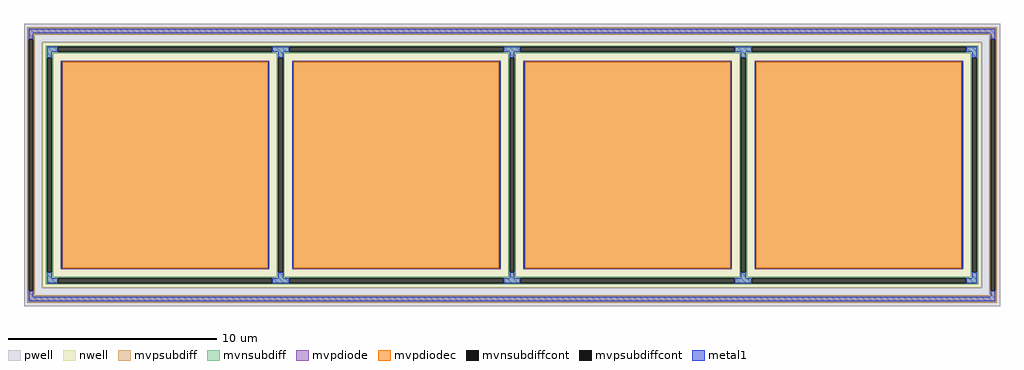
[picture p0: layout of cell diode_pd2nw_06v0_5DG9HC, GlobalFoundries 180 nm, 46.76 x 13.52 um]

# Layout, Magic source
magic
tech gf180mcuD
magscale 1 10
<< nwell >>
rect -4500 -1176 4500 1176
<< pwell >>
rect -4676 1176 4676 1352
rect -4676 -1176 -4500 1176
rect 4500 -1176 4676 1176
rect -4676 -1352 4676 -1176
<< mvpsubdiff >>
rect -4644 1248 4644 1320
rect -4644 1204 -4572 1248
rect -4644 -1204 -4631 1204
rect -4585 -1204 -4572 1204
rect 4572 1204 4644 1248
rect -4644 -1248 -4572 -1204
rect 4572 -1204 4585 1204
rect 4631 -1204 4644 1204
rect 4572 -1248 4644 -1204
rect -4644 -1320 4644 -1248
<< mvnsubdiff >>
rect -4468 1131 4468 1144
rect -4468 1085 -4352 1131
rect -2296 1085 -2136 1131
rect -80 1085 80 1131
rect 2136 1085 2296 1131
rect 4352 1085 4468 1131
rect -4468 1072 4468 1085
rect -4468 1028 -4396 1072
rect -4468 -1028 -4455 1028
rect -4409 -1028 -4396 1028
rect -2252 1028 -2180 1072
rect -4468 -1072 -4396 -1028
rect -2252 -1028 -2239 1028
rect -2193 -1028 -2180 1028
rect -36 1028 36 1072
rect -2252 -1072 -2180 -1028
rect -36 -1028 -23 1028
rect 23 -1028 36 1028
rect 2180 1028 2252 1072
rect -36 -1072 36 -1028
rect 2180 -1028 2193 1028
rect 2239 -1028 2252 1028
rect 4396 1028 4468 1072
rect 2180 -1072 2252 -1028
rect 4396 -1028 4409 1028
rect 4455 -1028 4468 1028
rect 4396 -1072 4468 -1028
rect -4468 -1085 4468 -1072
rect -4468 -1131 -4352 -1085
rect -2296 -1131 -2136 -1085
rect -80 -1131 80 -1085
rect 2136 -1131 2296 -1085
rect 4352 -1131 4468 -1085
rect -4468 -1144 4468 -1131
<< mvpsubdiffcont >>
rect -4631 -1204 -4585 1204
rect 4585 -1204 4631 1204
<< mvnsubdiffcont >>
rect -4352 1085 -2296 1131
rect -2136 1085 -80 1131
rect 80 1085 2136 1131
rect 2296 1085 4352 1131
rect -4455 -1028 -4409 1028
rect -2239 -1028 -2193 1028
rect -23 -1028 23 1028
rect 2193 -1028 2239 1028
rect 4409 -1028 4455 1028
rect -4352 -1131 -2296 -1085
rect -2136 -1131 -80 -1085
rect 80 -1131 2136 -1085
rect 2296 -1131 4352 -1085
<< mvpdiode >>
rect -4324 987 -2324 1000
rect -4324 -987 -4311 987
rect -2337 -987 -2324 987
rect -4324 -1000 -2324 -987
rect -2108 987 -108 1000
rect -2108 -987 -2095 987
rect -121 -987 -108 987
rect -2108 -1000 -108 -987
rect 108 987 2108 1000
rect 108 -987 121 987
rect 2095 -987 2108 987
rect 108 -1000 2108 -987
rect 2324 987 4324 1000
rect 2324 -987 2337 987
rect 4311 -987 4324 987
rect 2324 -1000 4324 -987
<< mvpdiodec >>
rect -4311 -987 -2337 987
rect -2095 -987 -121 987
rect 121 -987 2095 987
rect 2337 -987 4311 987
<< metal1 >>
rect -4631 1261 4631 1307
rect -4631 1204 -4585 1261
rect 4585 1204 4631 1261
rect -4455 1085 -4352 1131
rect -2296 1085 -2136 1131
rect -80 1085 80 1131
rect 2136 1085 2296 1131
rect 4352 1085 4455 1131
rect -4455 1028 -4409 1085
rect -2239 1028 -2193 1085
rect -4322 -987 -4311 987
rect -2337 -987 -2326 987
rect -4455 -1085 -4409 -1028
rect -23 1028 23 1085
rect -2106 -987 -2095 987
rect -121 -987 -110 987
rect -2239 -1085 -2193 -1028
rect 2193 1028 2239 1085
rect 110 -987 121 987
rect 2095 -987 2106 987
rect -23 -1085 23 -1028
rect 4409 1028 4455 1085
rect 2326 -987 2337 987
rect 4311 -987 4322 987
rect 2193 -1085 2239 -1028
rect 4409 -1085 4455 -1028
rect -4455 -1131 -4352 -1085
rect -2296 -1131 -2136 -1085
rect -80 -1131 80 -1085
rect 2136 -1131 2296 -1085
rect 4352 -1131 4455 -1085
rect -4631 -1261 -4585 -1204
rect 4585 -1261 4631 -1204
rect -4631 -1307 4631 -1261
<< properties >>
string diode_pd2nw_06v0_5DG9HC parameters
string FIXED_BBOX 2216 -1108 4432 1108
string gencell diode_pd2nw_06v0
string library gf180mcu
string parameters w 10 l 10 area 100.0 peri 40.0 nx 4 ny 1 dummy 0 lmin 0.45 wmin 0.45 class diode elc 1 erc 1 etc 1 ebc 1 glc 1 grc 1 gtc 0 gbc 0 doverlap 1 full_metal 1 compatible {diode_pd2nw_03v3 diode_pd2nw_06v0}
<< end >>
